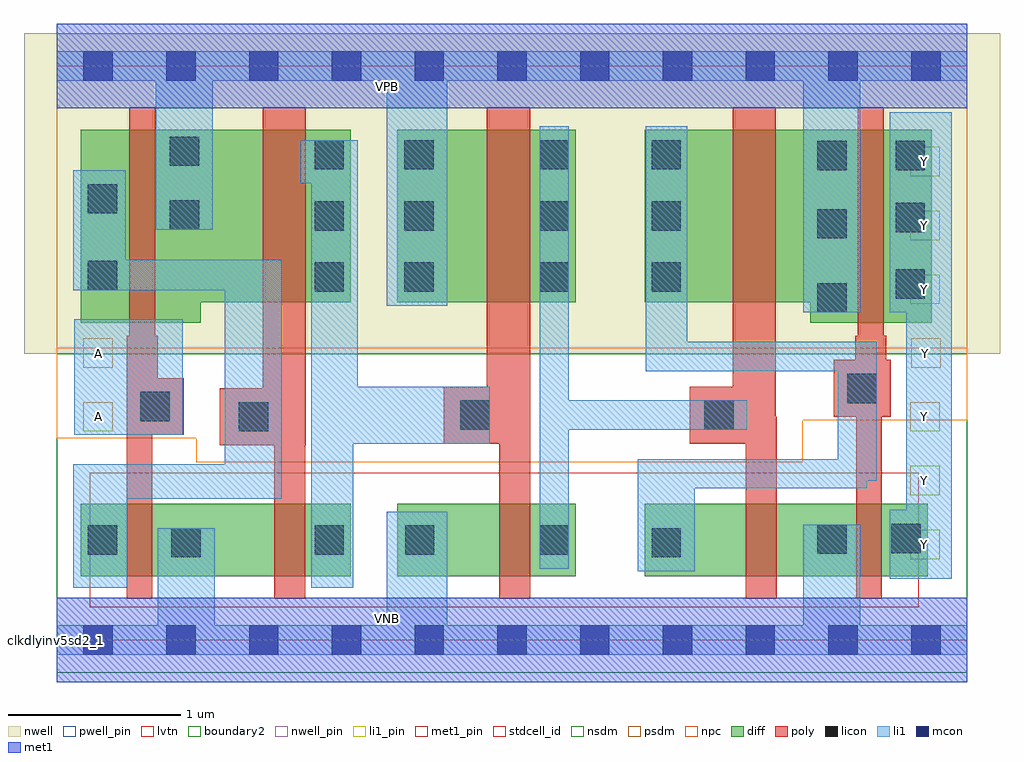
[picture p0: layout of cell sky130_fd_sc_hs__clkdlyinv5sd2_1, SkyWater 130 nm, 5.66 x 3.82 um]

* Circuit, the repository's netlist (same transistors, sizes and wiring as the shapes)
* Copyright 2020 The SkyWater PDK Authors
*
* Licensed under the Apache License, Version 2.0 (the "License");
* you may not use this file except in compliance with the License.
* You may obtain a copy of the License at
*
*     https://www.apache.org/licenses/LICENSE-2.0
*
* Unless required by applicable law or agreed to in writing, software
* distributed under the License is distributed on an "AS IS" BASIS,
* WITHOUT WARRANTIES OR CONDITIONS OF ANY KIND, either express or implied.
* See the License for the specific language governing permissions and
* limitations under the License.
*
* SPDX-License-Identifier: Apache-2.0

.SUBCKT sky130_fd_sc_hs__clkdlyinv5sd2_1 A VGND VNB VPB VPWR Y
*.PININFO A:I VGND:I VNB:I VPB:I VPWR:I Y:O
MMIN1 Abb Ab VGND VNB sky130_fd_pr__nfet_01v8_lvt m=1 w=0.42U l=0.18U mult=1 sa=0.265
+ sb=0.265 sd=0.28 area=0.063 perim=1.14
MMIN2 Y Abbbb VGND VNB sky130_fd_pr__nfet_01v8_lvt m=1 w=0.42U l=0.15U mult=1 sa=0.265
+ sb=0.265 sd=0.28 area=0.063 perim=1.14
MI9 Ab A VGND VNB sky130_fd_pr__nfet_01v8_lvt m=1 w=0.42U l=0.15U mult=1 sa=0.265
+ sb=0.265 sd=0.28 area=0.063 perim=1.14
MI16 Abbbb Abbb VGND VNB sky130_fd_pr__nfet_01v8_lvt m=1 w=0.42U l=0.18U mult=1
+ sa=0.265 sb=0.265 sd=0.28 area=0.063 perim=1.14
MI13 Abbb Abb VGND VNB sky130_fd_pr__nfet_01v8_lvt m=1 w=0.42U l=0.18U mult=1 sa=0.265
+ sb=0.265 sd=0.28 area=0.063 perim=1.14
MMIP1 Abb Ab VPWR VPB sky130_fd_pr__pfet_01v8 m=1 w=1.0U l=0.25U mult=1 sa=0.265
+ sb=0.265 sd=0.28 area=0.063 perim=1.14
MMIP2 Y Abbbb VPWR VPB sky130_fd_pr__pfet_01v8 m=1 w=1.12U l=0.15U mult=1 sa=0.265
+ sb=0.265 sd=0.28 area=0.063 perim=1.14
MI8 Ab A VPWR VPB sky130_fd_pr__pfet_01v8 m=1 w=1.12U l=0.15U mult=1 sa=0.265 sb=0.265
+ sd=0.28 area=0.063 perim=1.14
MI17 Abbbb Abbb VPWR VPB sky130_fd_pr__pfet_01v8 m=1 w=1.0U l=0.25U mult=1 sa=0.265
+ sb=0.265 sd=0.28 area=0.063 perim=1.14
MI14 Abbb Abb VPWR VPB sky130_fd_pr__pfet_01v8 m=1 w=1.0U l=0.25U mult=1 sa=0.265
+ sb=0.265 sd=0.28 area=0.063 perim=1.14
.ENDS sky130_fd_sc_hs__clkdlyinv5sd2_1

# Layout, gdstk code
import gdstk
lib = gdstk.Library(unit=1e-6, precision=1e-09)
def R(c, l, rs):  # rectangles x0, y0, x1, y1
    for r in rs: c.add(gdstk.rectangle(r[:2], r[2:], *l))
def A(c, l, x, y, w, h, nx, ny, dx, dy):  # array of equal rectangles
    R(c, l, [(x+i*dx, y+j*dy, x+i*dx+w, y+j*dy+h) for i in range(nx) for j in range(ny)])
def P(c, l, *ps):  # polygons
    for p in ps: c.add(gdstk.Polygon(p, *l))
nwell_pin = (64, 16)
nwell = (64, 20)
diff = (65, 20)
poly = (66, 20)
licon = (66, 44)
li1_pin = (67, 16)
li1 = (67, 20)
mcon = (67, 44)
met1_pin = (68, 16)
met1 = (68, 20)
stdcell_id = (81, 4)
nsdm = (93, 44)
psdm = (94, 20)
npc = (95, 20)
pwell_pin = (122, 16)
lvtn = (125, 44)
boundary2 = (236, 0)

sky130_fd_sc_hs__clkdlyi = lib.new_cell('sky130_fd_sc_hs__clkdlyinv5sd2_1')
R(sky130_fd_sc_hs__clkdlyi, nwell_pin, [(0,3.085,5.28,3.33)])
R(sky130_fd_sc_hs__clkdlyi, nwell, [(-0.19,1.66,5.47,3.52)])
R(sky130_fd_sc_hs__clkdlyi, diff, [(0.14,0.37,1.705,0.79), (1.975,0.37,3.01,0.79), (3.41,0.37,5.05,0.79), (1.975,1.96,3.01,2.96)])
P(sky130_fd_sc_hs__clkdlyi, diff, [(1.705,2.96),(0.14,2.96),(0.14,1.84),(0.835,1.84),(0.835,1.96),(1.705,1.96)],
  [(5.075,2.96),(3.41,2.96),(3.41,1.96),(4.37,1.96),(4.37,1.84),(5.075,1.84)])
P(sky130_fd_sc_hs__clkdlyi, poly, [(4.835,1.625),(4.81,1.625),(4.81,1.765),(4.795,1.765),(4.795,3.09),(4.645,3.09),(4.645,1.765),(4.63,1.765),(4.63,1.625),(4.505,1.625),(4.505,1.295),(4.635,1.295),(4.635,0.24),(4.785,0.24),(4.785,1.295),(4.835,1.295)],
  [(4.175,1.295),(4.17,1.295),(4.17,3.09),(3.92,3.09),(3.92,1.47),(3.67,1.47),(3.67,1.14),(3.995,1.14),(3.995,0.24),(4.175,0.24)],
  [(0.735,1.52),(0.585,1.52),(0.585,1.765),(0.57,1.765),(0.57,3.09),(0.42,3.09),(0.42,1.765),(0.405,1.765),(0.405,0.24),(0.555,0.24),(0.555,1.19),(0.735,1.19)],
  [(1.445,3.09),(1.195,3.09),(1.195,1.46),(0.945,1.46),(0.945,1.13),(1.26,1.13),(1.26,0.24),(1.44,0.24),(1.44,1.13),(1.445,1.13)],
  [(2.745,3.09),(2.495,3.09),(2.495,1.47),(2.245,1.47),(2.245,1.14),(2.565,1.14),(2.565,0.24),(2.745,0.24)])
A(sky130_fd_sc_hs__clkdlyi, licon, 1.495, 2.02, 0.17, 0.17, 1, 3, 0, 0.355)
A(sky130_fd_sc_hs__clkdlyi, licon, 2.015, 2.02, 0.17, 0.17, 1, 3, 0, 0.355)
A(sky130_fd_sc_hs__clkdlyi, licon, 2.8, 2.02, 0.17, 0.17, 1, 3, 0, 0.355)
A(sky130_fd_sc_hs__clkdlyi, licon, 3.45, 2.02, 0.17, 0.17, 1, 3, 0, 0.355)
R(sky130_fd_sc_hs__clkdlyi, licon, [(0.665,0.48,0.835,0.65), (3.45,0.48,3.62,0.65), (0.18,0.495,0.35,0.665), (1.495,0.495,1.665,0.665), (2.02,0.495,2.19,0.665), (2.8,0.495,2.97,0.665), (4.41,0.5,4.58,0.67), (4.84,0.505,5.01,0.675), (1.055,1.21,1.225,1.38), (2.34,1.22,2.51,1.39), (3.755,1.22,3.925,1.39), (0.485,1.27,0.655,1.44), (4.585,1.375,4.755,1.545), (4.41,1.9,4.58,2.07), (4.865,1.98,5.035,2.15), (0.18,2.03,0.35,2.2), (4.41,2.33,4.58,2.5), (4.865,2.365,5.035,2.535), (0.655,2.38,0.825,2.55), (0.18,2.475,0.35,2.645), (4.41,2.725,4.58,2.895), (4.865,2.725,5.035,2.895), (0.655,2.75,0.825,2.92)])
A(sky130_fd_sc_hs__clkdlyi, li1_pin, 4.95, 0.47, 0.17, 0.17, 1, 3, 0, 0.37)
A(sky130_fd_sc_hs__clkdlyi, li1_pin, 4.95, 1.95, 0.17, 0.17, 1, 3, 0, 0.37)
R(sky130_fd_sc_hs__clkdlyi, li1_pin, [(0.155,1.21,0.325,1.38), (0.155,1.58,0.325,1.75), (4.955,1.58,5.125,1.75)])
R(sky130_fd_sc_hs__clkdlyi, li1, [(0.1,1.19,0.73,1.86)])
P(sky130_fd_sc_hs__clkdlyi, li1, [(1.305,2.205),(0.4,2.205),(0.4,2.725),(0.095,2.725),(0.095,2.03),(0.975,2.03),(0.975,1.02),(0.095,1.02),(0.095,0.305),(0.41,0.305),(0.41,0.82),(1.305,0.82)],
  [(2.51,1.47),(1.745,1.47),(1.745,2.9),(1.415,2.9),(1.415,2.65),(1.475,2.65),(1.475,0.305),(1.72,0.305),(1.72,1.14),(2.51,1.14)],
  [(4.005,1.39),(2.97,1.39),(2.97,2.98),(2.8,2.98),(2.8,0.415),(2.97,0.415),(2.97,1.22),(4.005,1.22)],
  [(4.755,1.73),(3.655,1.73),(3.655,2.98),(3.415,2.98),(3.415,1.56),(4.53,1.56),(4.53,1.05),(3.37,1.05),(3.37,0.4),(3.7,0.4),(3.7,0.88),(4.7,0.88),(4.7,0.925),(4.755,0.925)],
  [(5.28,3.415),(0,3.415),(0,3.245),(0.575,3.245),(0.575,2.38),(0.905,2.38),(0.905,3.245),(1.915,3.245),(1.915,1.94),(2.265,1.94),(2.265,3.245),(4.33,3.245),(4.33,1.9),(4.66,1.9),(4.66,3.245),(5.28,3.245)],
  [(5.28,0.085),(4.66,0.085),(4.66,0.67),(4.33,0.67),(4.33,0.085),(2.265,0.085),(2.265,0.745),(1.915,0.745),(1.915,0.085),(0.915,0.085),(0.915,0.65),(0.585,0.65),(0.585,0.085),(0,0.085),(0,-0.085),(5.28,-0.085)],
  [(5.19,3.06),(4.83,3.06),(4.83,1.9),(4.925,1.9),(4.925,0.755),(4.83,0.755),(4.83,0.355),(5.19,0.355)])
A(sky130_fd_sc_hs__clkdlyi, mcon, 0.155, -0.085, 0.17, 0.17, 11, 2, 0.48, 3.33)
R(sky130_fd_sc_hs__clkdlyi, met1_pin, [(0,0,5.28,0.245), (0,3.085,5.28,3.33)])
R(sky130_fd_sc_hs__clkdlyi, met1, [(0,-0.245,5.28,0.245), (0,3.085,5.28,3.575)])
R(sky130_fd_sc_hs__clkdlyi, stdcell_id, [(0,0,5.28,3.33)])
R(sky130_fd_sc_hs__clkdlyi, nsdm, [(0,-0.19,5.28,1.66)])
R(sky130_fd_sc_hs__clkdlyi, psdm, [(0,1.66,5.28,3.52)])
P(sky130_fd_sc_hs__clkdlyi, npc, [(5.28,1.695),(0,1.695),(0,1.17),(0.81,1.17),(0.81,1.03),(4.325,1.03),(4.325,1.275),(5.28,1.275)])
R(sky130_fd_sc_hs__clkdlyi, pwell_pin, [(0,0,5.28,0.245)])
R(sky130_fd_sc_hs__clkdlyi, lvtn, [(0.19,0.19,5,0.97)])
R(sky130_fd_sc_hs__clkdlyi, boundary2, [(0,0,5.28,3.33)])
sky130_fd_sc_hs__clkdlyi.add(gdstk.Label('clkdlyinv5sd2_1', (0,0), layer=83, texttype=44))
sky130_fd_sc_hs__clkdlyi.add(gdstk.Label('VNB', (1.92,0.123), layer=64, texttype=59))
sky130_fd_sc_hs__clkdlyi.add(gdstk.Label('VPB', (1.92,3.208), layer=64, texttype=5))
sky130_fd_sc_hs__clkdlyi.add(gdstk.Label('VGND', (1.92,0.123), layer=68, texttype=5))
sky130_fd_sc_hs__clkdlyi.add(gdstk.Label('VPWR', (1.92,3.208), layer=68, texttype=5))
sky130_fd_sc_hs__clkdlyi.add(gdstk.Label('A', (0.24,1.295), layer=67, texttype=5))
sky130_fd_sc_hs__clkdlyi.add(gdstk.Label('A', (0.24,1.665), layer=67, texttype=5))
sky130_fd_sc_hs__clkdlyi.add(gdstk.Label('Y', (5.04,1.665), layer=67, texttype=5))
sky130_fd_sc_hs__clkdlyi.add(gdstk.Label('Y', (5.035,2.405), layer=67, texttype=5))
sky130_fd_sc_hs__clkdlyi.add(gdstk.Label('Y', (5.035,2.035), layer=67, texttype=5))
sky130_fd_sc_hs__clkdlyi.add(gdstk.Label('Y', (5.035,0.925), layer=67, texttype=5))
sky130_fd_sc_hs__clkdlyi.add(gdstk.Label('Y', (5.035,0.555), layer=67, texttype=5))
sky130_fd_sc_hs__clkdlyi.add(gdstk.Label('Y', (5.035,1.295), layer=67, texttype=5))
sky130_fd_sc_hs__clkdlyi.add(gdstk.Label('Y', (5.035,2.775), layer=67, texttype=5))

lib.write_gds('sky130_fd_sc_hs__clkdlyinv5sd2_1.gds')
